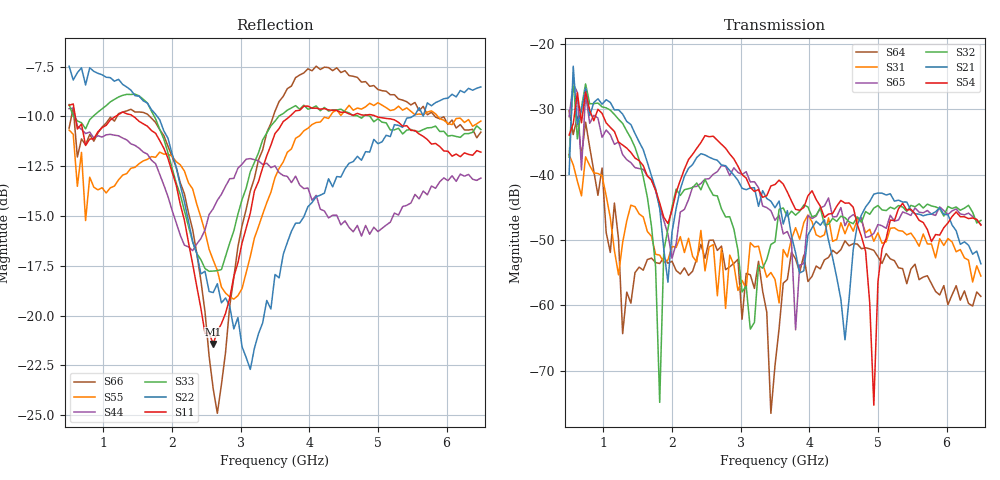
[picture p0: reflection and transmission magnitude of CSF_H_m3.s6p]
!Keysight Technologies,M9804A,MY58100912,A.14.10.03
!Date: Thursday, April 27, 2023 10:28:33
!Correction: S11(C  6-Port  )
!S12(C  6-Port  )
!S13(C  6-Port  )
!S14(C  6-Port  )
!S15(C  6-Port  )
!S16(C  6-Port  )
!S21(C  6-Port  )
!S22(C  6-Port  )
!S23(C  6-Port  )
!S24(C  6-Port  )
!S25(C  6-Port  )
!S26(C  6-Port  )
!S31(C  6-Port  )
!S32(C  6-Port  )
!S33(C  6-Port  )
!S34(C  6-Port  )
!S35(C  6-Port  )
!S36(C  6-Port  )
!S41(C  6-Port  )
!S42(C  6-Port  )
!S43(C  6-Port  )
!S44(C  6-Port  )
!S45(C  6-Port  )
!S46(C  6-Port  )
!S51(C  6-Port  )
!S52(C  6-Port  )
!S53(C  6-Port  )
!S54(C  6-Port  )
!S55(C  6-Port  )
!S56(C  6-Port  )
!S61(C  6-Port  )
!S62(C  6-Port  )
!S63(C  6-Port  )
!S64(C  6-Port  )
!S65(C  6-Port  )
!S66(C  6-Port  )
!S6P File: Measurement: :
# Hz S  RI  R 50
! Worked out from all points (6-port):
!   101 points, 500 MHz to 6.5 GHz, reference 50 ohm
!   strongest paths, dB at 500 MHz, 2 GHz, 3.5 GHz, 5 GHz, 6.5 GHz:
!     S54: -33.9, -45.4, -41.5, -56.4, -47.7
!     S21: -40.0, -48.7, -45.1, -42.8, -53.7
!     S32: -37.3, -44.9, -50.3, -44.7, -47.0
!     S65: -31.1, -52.8, -47.0, -47.6, -47.6
!     S31: -36.9, -51.0, -56.1, -48.9, -55.5
!     S64: -30.2, -53.3, -69.2, -52.6, -58.6
!   lowest |S11| = -21.4 dB at 2.6 GHz (marker M1), VSWR 1.19, Z = 42.5 + j2.17 ohm
!   |S11| at or under -10 dB: 589.8 MHz to 1.176 GHz (586 MHz wide, 66.4 % of centre); 1.435 GHz to 3.714 GHz (2.279 GHz wide, 88.5 % of centre); 4.975 GHz to end of sweep
